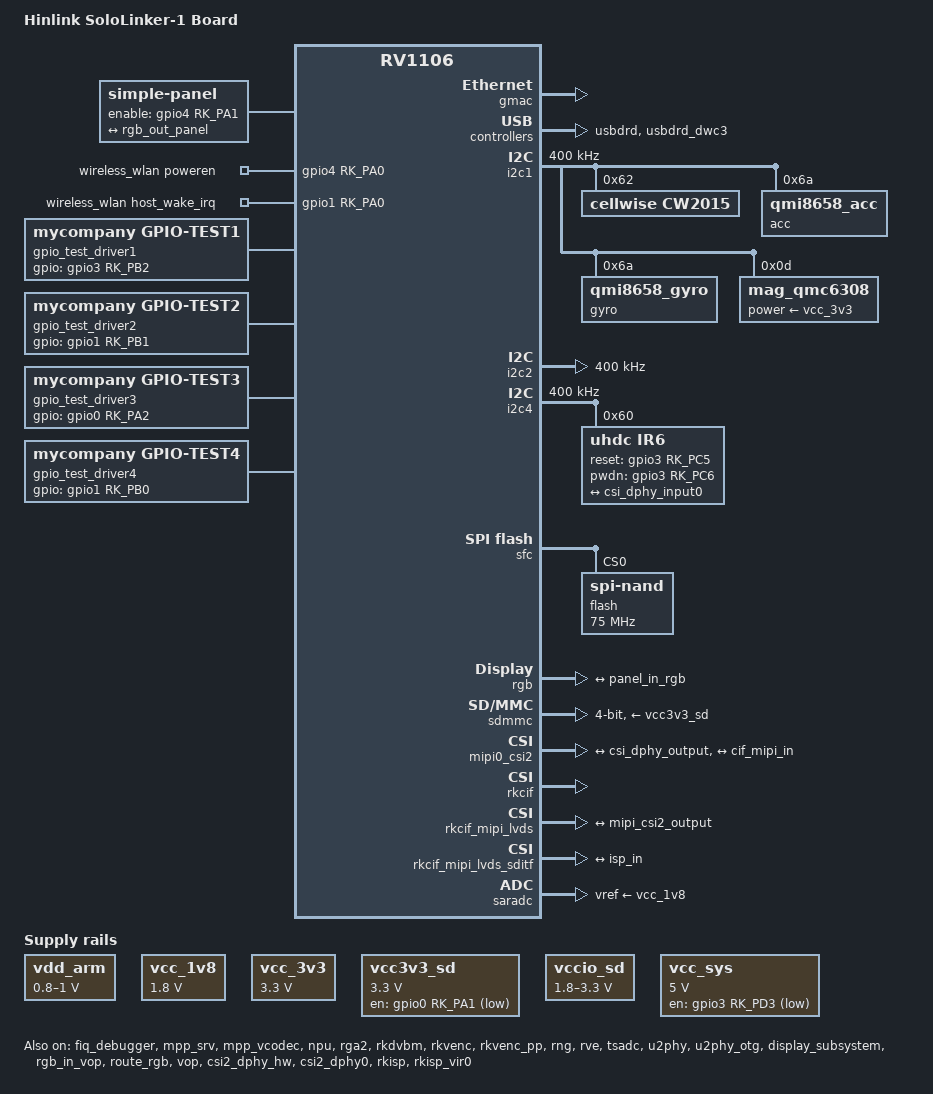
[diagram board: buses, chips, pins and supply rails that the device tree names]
// SPDX-License-Identifier: (GPL-2.0+ OR MIT)
/*
 * Copyright (c) 2022 Rockchip Electronics Co., Ltd.
 */

/dts-v1/;

#include "rv1106.dtsi"
#include "rv1106-amp.dtsi"
#include <dt-bindings/input/input.h>
#include <dt-bindings/display/media-bus-format.h>

/ {
    model = "Hinlink SoloLinker-1 Board";
	compatible = "rockchip,rv1106g-evb1-v11", "rockchip,rv1106";

	chosen {
		bootargs = "earlycon=uart8250,mmio32,0xff4c0000 console=ttyFIQ0 root=/dev/mmcblk0p5 rootfstype=ext4 rootwait snd_soc_core.prealloc_buffer_size_kbytes=16 coherent_pool=0 net.ifnames=0 biosdevname=0";
	};
/*
	acodec_sound: acodec-sound {
		compatible = "simple-audio-card";
		simple-audio-card,name = "rv1106-acodec";
		simple-audio-card,format = "i2s";
		simple-audio-card,mclk-fs = <256>;
		simple-audio-card,cpu {
			sound-dai = <&i2s0_8ch>;
		};
		simple-audio-card,codec {
			sound-dai = <&acodec>;
		};
	};

	dsm_sound: dsm-sound {
		status = "disabled";
		compatible = "simple-audio-card";
		simple-audio-card,format = "i2s";
		simple-audio-card,mclk-fs = <256>;
		simple-audio-card,name = "rockchip,dsm-sound";
		simple-audio-card,bitclock-master = <&sndcodec>;
		simple-audio-card,frame-master = <&sndcodec>;
		sndcpu: simple-audio-card,cpu {
			sound-dai = <&i2s0_8ch>;
		};
		sndcodec: simple-audio-card,codec {
			sound-dai = <&dsm>;
		};
	};
*/

	vdd_arm: vdd-arm {
		//compatible = "pwm-regulator";
		compatible = "pwm-regulator-fixed";
		//pwms = <&pwm0 0 5000 1>;
		regulator-name = "vdd_arm";
		regulator-min-microvolt = <724000>;
		regulator-max-microvolt = <1078000>;
		regulator-init-microvolt = <950000>;
		regulator-always-on;
		regulator-boot-on;
		regulator-settling-time-up-us = <250>;
	};

/*
	adc-keys {
		compatible = "adc-keys";
		io-channels = <&saradc 0>;
		io-channel-names = "buttons";
		poll-interval = <100>;
		keyup-threshold-microvolt = <1800000>;

		key_volumeup-key {
			label = "key_volumeup";
			linux,code = <KEY_VOLUMEUP>;
			press-threshold-microvolt = <0>;
		};

		key_volumedown-key {
			label = "key_volumedown";
			linux,code = <KEY_VOLUMEDOWN>;
			press-threshold-microvolt = <400781>;
		};
	};
*/
	restart-poweroff {
		compatible = "restart-poweroff";
	};
/*
	backlight: backlight {
		status = "okay";
		compatible = "pwm-backlight";
		//pwms = <&pwm7 0 25000 0>;
		brightness-levels = <
			  0   1   2   3   4   5   6   7
			  8   9  10  11  12  13  14  15
			 16  17  18  19  20  21  22  23
			 24  25  26  27  28  29  30  31
			 32  33  34  35  36  37  38  39
			 40  41  42  43  44  45  46  47
			 48  49  50  51  52  53  54  55
			 56  57  58  59  60  61  62  63
			 64  65  66  67  68  69  70  71
			 72  73  74  75  76  77  78  79
			 80  81  82  83  84  85  86  87
			 88  89  90  91  92  93  94  95
			 96  97  98  99 100 101 102 103
			104 105 106 107 108 109 110 111
			112 113 114 115 116 117 118 119
			120 121 122 123 124 125 126 127
			128 129 130 131 132 133 134 135
			136 137 138 139 140 141 142 143
			144 145 146 147 148 149 150 151
			152 153 154 155 156 157 158 159
			160 161 162 163 164 165 166 167
			168 169 170 171 172 173 174 175
			176 177 178 179 180 181 182 183
			184 185 186 187 188 189 190 191
			192 193 194 195 196 197 198 199
			200 201 202 203 204 205 206 207
			208 209 210 211 212 213 214 215
			216 217 218 219 220 221 222 223
			224 225 226 227 228 229 230 231
			232 233 234 235 236 237 238 239
			240 241 242 243 244 245 246 247
			248 249 250 251 252 253 254 255>;
		default-brightness-level = <255>;
	};
*/
	panel: panel {
		compatible = "simple-panel";
		//backlight = <&backlight>;
        enable-gpios = <&gpio4 RK_PA1 GPIO_ACTIVE_HIGH>;
        enable-delay-ms = <20>;
		status = "okay";

		bus-format = <MEDIA_BUS_FMT_RGB666_1X18>;
        width-mm = <13>;
        height-mm = <10>;

		display-timings {
			native-mode = <&timing0>;

			timing0: timing0 {
				clock-frequency = <32500000>;
				hactive = <1024>;
				vactive = <768>;
				hback-porch = <160>;
				hfront-porch = <24>;
				hsync-len = <136>;
				vback-porch = <29>;
				vfront-porch = <3>;
				vsync-len = <6>; //value range <2~22>
				hsync-active = <0>;
				vsync-active = <0>;
				de-active = <0>;
				pixelclk-active = <1>;
			};
		};

		port {
			panel_in_rgb: endpoint {
				remote-endpoint = <&rgb_out_panel>;
			};
		};
	};

	reserved-memory {
		#address-cells = <1>;
		#size-cells = <1>;
		ranges;

		linux,cma {
			compatible = "shared-dma-pool";
			inactive;
			reusable;
			size = <0x2000000>;
			linux,cma-default;
		};
		
		drm_logo: drm-logo@00000000 {
			compatible = "rockchip,drm-logo";
			reg = <0x0 0x0>;
		};
	};

	vcc_1v8: vcc-1v8 {
		compatible = "regulator-fixed";
		regulator-name = "vcc_1v8";
		regulator-always-on;
		regulator-boot-on;
		regulator-min-microvolt = <1800000>;
		regulator-max-microvolt = <1800000>;
	};

	vcc_3v3: vcc-3v3 {
		compatible = "regulator-fixed";
		regulator-name = "vcc_3v3";
		regulator-always-on;
		regulator-boot-on;
		regulator-min-microvolt = <3300000>;
		regulator-max-microvolt = <3300000>;
	};

	vcc3v3_sd: vcc3v3-sd {
		compatible = "regulator-fixed";
		gpio = <&gpio0 RK_PA1 GPIO_ACTIVE_LOW>;
		regulator-name = "vcc3v3_sd";
		regulator-min-microvolt = <3300000>;
		regulator-max-microvolt = <3300000>;
		pinctrl-names = "default";
		pinctrl-0 = <&sdmmc_pwren>;
	};

	vccio_sd: vccio-sd {
		compatible = "regulator-gpio";
		regulator-name = "vccio_sd";
		regulator-min-microvolt = <1800000>;
		regulator-max-microvolt = <3300000>;
		/* gpios = <&gpio0 RK_PA3 GPIO_ACTIVE_HIGH>; */
		states = <3300000 1
			  1800000 0>;
		/* pinctrl-names = "default"; */
		/* pinctrl-0 = <&sdmmc_volt>; */
	};

	vcc_sys: vcc-sys {
		compatible = "regulator-fixed";
		regulator-name = "vcc_sys";
		regulator-min-microvolt = <5000000>;
		regulator-max-microvolt = <5000000>;
		// enable-active-high;
		gpio = <&gpio3 RK_PD3 GPIO_ACTIVE_HIGH>;
		// regulator-boot-on;
		// regulator-always-on;
		pinctrl-names = "default";
		pinctrl-0 = <&cpu_hold>;
	};

	wireless_wlan: wireless-wlan {
		compatible = "wlan-platdata";
        wifi_chip_type = "AIC8800D0";
		pinctrl-names = "default";
		pinctrl-0 = <&wifi_host_wake_irq>;
        WIFI,poweren_gpio = <&gpio4 RK_PA0 GPIO_ACTIVE_HIGH>;
		WIFI,host_wake_irq = <&gpio1 RK_PA0 GPIO_ACTIVE_HIGH>;
		status = "okay";
	};

	// 按键节点
	gpio_test1 {
		compatible = "mycompany,gpio-test1";
		gpio = <&gpio3 RK_PB2 GPIO_ACTIVE_HIGH>; // GPIO 节点
		label = "gpio_test_driver1"; // 设备节点名称
	};

	gpio_test2 {
		compatible = "mycompany,gpio-test2";
		gpio = <&gpio1 RK_PB1 GPIO_ACTIVE_HIGH>;
		label = "gpio_test_driver2";
	};

	gpio_test3 {
		compatible = "mycompany,gpio-test3";
		gpio = <&gpio0 RK_PA2 GPIO_ACTIVE_HIGH>;
		label = "gpio_test_driver3";
	};

	gpio_test4 {
		compatible = "mycompany,gpio-test4";
		gpio = <&gpio1 RK_PB0 GPIO_ACTIVE_HIGH>;
		label = "gpio_test_driver4";
	};

	// gpio_test5 {
	// 	compatible = "mycompany,gpio-test5";
	// 	gpio-a = <&gpio0 RK_PA2 GPIO_ACTIVE_HIGH>;
	// 	gpio-b = <&gpio1 RK_PB0 GPIO_ACTIVE_HIGH>;
	// 	label = "gpio_test_driver5";
	// };


};

&fiq_debugger {
	rockchip,irq-mode-enable = <1>;
	status = "okay";
};

&gmac {
	status = "okay";
};

&i2s0_8ch {
	status = "okay";
};

&mpp_srv {
	status = "okay";
};

&mpp_vcodec {
	status = "okay";
};

&npu {
	status = "okay";
};

&rga2 {
	status = "okay";
};

&rkdvbm {
	status = "okay";
};

&rkvenc {
	status = "okay";
};

&rkvenc_pp {
	status = "okay";
};

&rmii_phy {
	bgs,increment = <0>;
};

&rng {
	status = "okay";
};

&rve {
	status = "okay";
};

&tsadc {
	status = "okay";
};

&u2phy {
	status = "okay";
};

&u2phy_otg {
	status = "okay";
};

&usbdrd {
	status = "okay";
};

&usbdrd_dwc3 {
    extcon = <&u2phy>;
	status = "okay";
    /* dr_mode = "host"; */
};

/*
&acodec {
	#sound-dai-cells = <0>;
	// pa-ctl-gpios = <&gpio1 RK_PA1 GPIO_ACTIVE_HIGH>;
	status = "okay";
};*/

&cpu0 {
	cpu-supply = <&vdd_arm>;
};

&emmc {
	bus-width = <8>;
	cap-mmc-highspeed;
	non-removable;
	mmc-ddr-1_8v;
	mmc-hs200-1_8v;
	rockchip,default-sample-phase = <90>;
	no-sdio;
	no-sd;
	status = "disabled";
};

/*
&dsm {
	status = "disabled";
};*/


&i2c1 {
    status = "okay";
    clock-frequency = <400000>;
    pinctrl-names = "default";
    pinctrl-0 = <&i2c1m0_xfer>;

};


&i2c2 {
    status = "okay";
    clock-frequency = <400000>;
    pinctrl-names = "default";
    pinctrl-0 = <&i2c2m1_xfer>;

};

&i2c4 {
    status = "okay";
    clock-frequency = <400000>;
    pinctrl-names = "default";
    pinctrl-0 = <&i2c4m2_xfer>;

	ir6: ir6@60 {
        compatible = "uhdc,ir6";
		status = "okay";
		reg = <0x60>;
		clocks = <&cru MCLK_REF_MIPI0>;
		clock-names = "xvclk";
        reset-gpios = <&gpio3 RK_PC5 GPIO_ACTIVE_HIGH>;
		pwdn-gpios = <&gpio3 RK_PC6 GPIO_ACTIVE_HIGH>;
		pinctrl-names = "default";
		pinctrl-0 = <&mipi_refclk_out0>;
        rockchip,camera-module-index = <0>;
        rockchip,camera-module-facing = "front";
        rockchip,camera-module-name = "UHD099";
        rockchip,camera-module-lens-name = "NIR-E-2M-F1-hdr2";
		port {
			sc530ai_out: endpoint {
				remote-endpoint = <&csi_dphy_input0>;
				data-lanes = <1 2 3 4>;
			};
		};
	};

};

&i2s0_8ch {
	#sound-dai-cells = <0>;
	status = "disabled";
};
/*
&pwm0 {
	status = "okay";
};
*/
&rtc {
	status = "disabled";
};

&sfc {
	status = "okay";

	flash@0 {
		compatible = "spi-nand";
		reg = <0>;
		spi-max-frequency = <75000000>;
		spi-rx-bus-width = <4>;
		spi-tx-bus-width = <1>;
	};
};

&vdd_arm {
	regulator-min-microvolt = <800000>;
	regulator-max-microvolt = <1000000>;
	regulator-init-microvolt = <900000>;
};
/*
&pwm7 {
	status = "okay";
	pinctrl-names = "active";
	pinctrl-0 = <&pwm7m1_pins>;
};
*/
&display_subsystem {
	status = "okay";
	logo-memory-region = <&drm_logo>;
};

&pwm3 {
	status = "disabled";
	pinctrl-names = "active";
	pinctrl-0 = <&pwm3m1_pins>;
};

&rgb {
	status = "okay";
	pinctrl-names = "default";
	pinctrl-0 = <&lcd_pins>;

	ports {
		rgb_out: port@1 {
			reg = <1>;
			#address-cells = <1>;
			#size-cells = <0>;

            rgb_out_panel: endpoint@0 {
                reg = <0>;
                remote-endpoint = <&panel_in_rgb>;
            };
		};
	};
};

&rgb_in_vop {
	status = "okay";
};

&route_rgb {
    status = "okay";
};

&vop {
	status = "okay";
};

&pinctrl {
	sdmmc {
		sdmmc_pwren: sdmmc-pwren {
			rockchip,pins = <0 RK_PA1 RK_FUNC_GPIO &pcfg_pull_none>;
		};
		/*sdmmc0_det: sdmmc0-det {
			rockchip,pins = <3 RK_PA1 RK_FUNC_GPIO &pcfg_pull_up_drv_level_2>;
		};*/
	};

	wireless-wlan {
		wifi_host_wake_irq: wifi-host-wake-irq {
			rockchip,pins = <1 RK_PA0 RK_FUNC_GPIO &pcfg_pull_none>;
		};
	};

	power_hold {
		cpu_hold: cpu-hold {
			rockchip,pins = <3 RK_PD3 RK_FUNC_GPIO &pcfg_pull_up>;
		};
	};

};

&sdmmc {
	max-frequency = <200000000>;
	no-sdio;
	no-mmc;
	bus-width = <4>;
	cap-mmc-highspeed;
	cap-sd-highspeed;
	disable-wp;
	pinctrl-names = "normal", "idle";
	pinctrl-0 = <&sdmmc0_clk &sdmmc0_cmd &sdmmc0_det &sdmmc0_bus4>;
	pinctrl-1 = <&sdmmc0_idle_pins &sdmmc0_det>;
	sd-uhs-sdr12;
	sd-uhs-sdr25;
	sd-uhs-sdr50;
	sd-uhs-sdr104;
	vmmc-supply = <&vcc3v3_sd>;
	vqmmc-supply = <&vccio_sd>;
	status = "okay";
};

&csi2_dphy_hw {
	status = "okay";
};

&csi2_dphy0 {
	status = "okay";

	ports {
		#address-cells = <1>;
		#size-cells = <0>;

		port@0 {
			reg = <0>;
			#address-cells = <1>;
			#size-cells = <0>;

			csi_dphy_input0: endpoint@0 {
				reg = <0>;
				remote-endpoint = <&sc530ai_out>;
				data-lanes = <1 2 3 4>;
			};
		};

		port@1 {
			reg = <1>;
			#address-cells = <1>;
			#size-cells = <0>;

			csi_dphy_output: endpoint@0 {
				reg = <0>;
				remote-endpoint = <&mipi_csi2_input>;
			};
		};
	};
};

&mipi0_csi2 {
	status = "okay";

	ports {
		#address-cells = <1>;
		#size-cells = <0>;

		port@0 {
			reg = <0>;
			#address-cells = <1>;
			#size-cells = <0>;

			mipi_csi2_input: endpoint@1 {
				reg = <1>;
				remote-endpoint = <&csi_dphy_output>;
			};
		};

		port@1 {
			reg = <1>;
			#address-cells = <1>;
			#size-cells = <0>;

			mipi_csi2_output: endpoint@0 {
				reg = <0>;
				remote-endpoint = <&cif_mipi_in>;
			};
		};
	};
};

&rkcif {
	status = "okay";
};

&rkcif_mipi_lvds {
	status = "okay";

	pinctrl-names = "default";
	pinctrl-0 = <&mipi_pins>;
	port {
		/* MIPI CSI-2 endpoint */
		cif_mipi_in: endpoint {
			remote-endpoint = <&mipi_csi2_output>;
		};
	};
};

&rkcif_mipi_lvds_sditf {
	status = "okay";

	port {
		/* MIPI CSI-2 endpoint */
		mipi_lvds_sditf: endpoint {
			remote-endpoint = <&isp_in>;
		};
	};
};

&rkisp {
	status = "okay";
};

&rkisp_vir0 {
	status = "okay";

	port@0 {
		isp_in: endpoint {
			remote-endpoint = <&mipi_lvds_sditf>;
		};
	};
};

&i2c1 {
	status = "okay";

	cw2015@62{
		compatible = "cellwise,cw2015";
		reg = <0x62>;
		
		// 电池配置文件，64 字节
		// cellwise,battery-profile = [
		// 	15 7e 7c 5c 64 6a 65 5c 55 53 56 61 6f 66 50 48
		// 	43 42 40 43 4b 5f 75 7d 52 44 07 ae 11 22 40 56
		// 	6c 7c 85 86 3d 19 8d 1b 06 34 46 79 8d 90 90 46
		// 	67 80 97 af 80 9f ae cb 2f 00 64 a5 b5 11 d0 11
		// ];

		cellwise,battery-profile = [
			15 7E 84 41 37 47 4A 5D 59 4A 49 4D 5A 6F 67 5E  
			54 4B 43 42 44 4E 5B 67 6D 57 0A 3E 54 83 88 92
			92 92 92 8E 3B 18 64 0A 04 66 2E 65 89 93 94 3A  
			5B 81 96 96 80 90 91 CB 2F 00 64 A5 B5 C1 46 AE
		];
	};
};

&saradc {
	status = "okay";
	vref-supply = <&vcc_1v8>;
};


&i2c1 {
	status = "okay";
    
	acc@6b {
		status = "okay";
		// reg = <0x6b>;
		reg = <0x6a>;
		compatible ="qmi8658_acc";
		// type = <SENSOR_TYPE_ACCEL>;
		type = <2>;
		poll_delay_ms =<30>;
		// power-off-in-suspend = <1>;
		power-off-in-suspend = <0>;

		layout = <4>;
	};

	gyro@6b{
		status ="okay";
		compatible ="qmi8658_gyro";
		// reg = <0x6b>;
		reg = <0x6a>;
		// type = <SENSOR_TYPE_GYROSCOPE>;
		type = <4>;
		power-off-in-suspend = <1>;
		poll_delay_ms = <30>;
	};
};

&i2c1 { 
    mag_qmc6308@0d { // 节点名称为设备名称@I2C地址
        compatible = "mag_qmc6308"; 
        reg = <0x0d>;             
        status = "okay";           // 启用设备
        power-supply = <&vcc_3v3>;     // 电源节点，可选
		type = <3>;
    };
};
